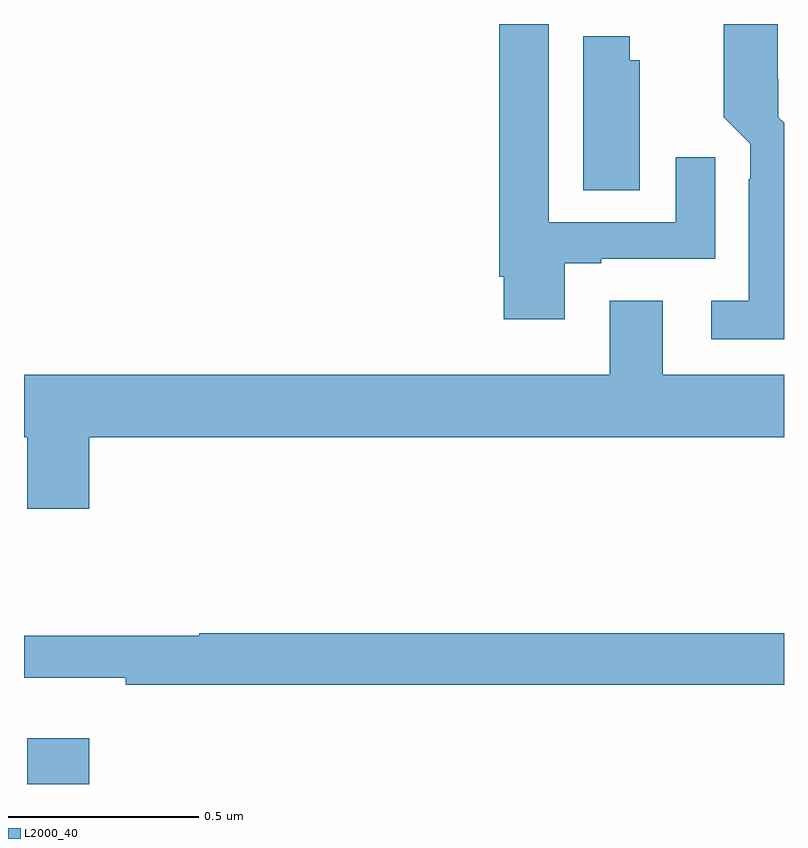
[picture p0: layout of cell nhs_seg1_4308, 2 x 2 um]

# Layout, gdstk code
import gdstk
lib = gdstk.Library(unit=1e-6, precision=1e-09)
def R(c, l, rs):  # rectangles x0, y0, x1, y1
    for r in rs: c.add(gdstk.rectangle(r[:2], r[2:], *l))
def P(c, l, *ps):  # polygons
    for p in ps: c.add(gdstk.Polygon(p, *l))
L2000_40 = (2000, 40)

nhs_seg1_4308 = lib.new_cell('nhs_seg1_4308')
R(nhs_seg1_4308, L2000_40, [(165.008,504.199,165.172,504.319)])
P(nhs_seg1_4308, L2000_40, [(167,505.939),(166.985,505.954),(166.985,506.053),(166.984,506.053),(166.984,506.199),(166.842,506.199),(166.842,506.056),(166.841,506.056),(166.841,505.954),(166.911,505.884),(166.911,505.79),(166.907,505.79),(166.907,505.471),(166.809,505.471),(166.809,505.37),(167,505.37)],
  [(166.423,505.569),(166.519,505.569),(166.519,505.581),(166.819,505.581),(166.819,505.849),(166.715,505.849),(166.715,505.677),(166.381,505.677),(166.381,506.199),(166.25,506.199),(166.25,505.534),(166.262,505.534),(166.262,505.422),(166.423,505.422)],
  [(166.621,506.103),(166.594,506.103),(166.594,506.167),(166.472,506.167),(166.472,505.762),(166.621,505.762)],
  [(165.172,505.112),(167,505.112),(167,505.276),(166.681,505.276),(166.681,505.471),(166.541,505.471),(166.541,505.276),(165,505.276),(165,505.112),(165.008,505.112),(165.008,504.924),(165.172,504.924)],
  [(167,504.596),(165.461,504.596),(165.461,504.589),(165,504.589),(165,504.479),(165.268,504.479),(165.268,504.46),(167,504.46)])

lib.write_gds('nhs_seg1_4308.gds')
